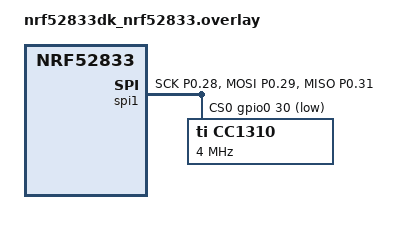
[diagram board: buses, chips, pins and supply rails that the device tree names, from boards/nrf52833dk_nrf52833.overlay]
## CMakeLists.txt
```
#
# Copyright (c) 2018 Nordic Semiconductor
#
# SPDX-License-Identifier: LicenseRef-Nordic-5-Clause
#
cmake_minimum_required(VERSION 3.20.0)

find_package(Zephyr REQUIRED HINTS $ENV{ZEPHYR_BASE})
project(central_uart)

# NORDIC SDK APP START
target_sources(app PRIVATE
  src/main.c
   src/PID.c  
)
# NORDIC SDK APP END

target_include_directories(app PRIVATE include)
```

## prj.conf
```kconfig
#
# Copyright (c) 2018 Nordic Semiconductor
#
# SPDX-License-Identifier: LicenseRef-Nordic-5-Clause
#

# Enable the UART driver
CONFIG_UART_ASYNC_API=y
CONFIG_NRFX_UARTE0=y
CONFIG_SERIAL=y
CONFIG_CONSOLE=y
CONFIG_UART_CONSOLE=y

# Enable the BLE stack with GATT Client configuration
CONFIG_BT=y
CONFIG_BT_CENTRAL=y
CONFIG_BT_SMP=y
CONFIG_BT_GATT_CLIENT=y

# Enable the BLE modules from NCS
CONFIG_BT_NUS_CLIENT=y
CONFIG_BT_SCAN=y
CONFIG_BT_SCAN_FILTER_ENABLE=y
CONFIG_BT_SCAN_UUID_CNT=1
CONFIG_BT_SCAN_NAME_CNT=1
CONFIG_BT_GATT_DM=y
CONFIG_HEAP_MEM_POOL_SIZE=2048

# This example requires more stack
CONFIG_SYSTEM_WORKQUEUE_STACK_SIZE=4096
CONFIG_MAIN_STACK_SIZE=2048

# Enable bonding
CONFIG_BT_SETTINGS=y
CONFIG_FLASH=y
CONFIG_FLASH_PAGE_LAYOUT=y
CONFIG_FLASH_MAP=y

# Config logger
CONFIG_LOG=y
CONFIG_USE_SEGGER_RTT=y
CONFIG_LOG_BACKEND_RTT=y
CONFIG_LOG_BACKEND_UART=y
CONFIG_LOG_PRINTK=y

CONFIG_ASSERT=y

# RSSI
# CONFIG_BT_CTLR_ADVANCED_FEATURES=y
CONFIG_BT_CTLR_CONN_RSSI=y
CONFIG_BT_CTLR_TX_PWR_DYNAMIC_CONTROL=y
CONFIG_BT_CTLR_TX_PWR_ANTENNA=8

# #FEM
# CONFIG_MPSL_FEM=y
# CONFIG_MPSL=y
# CONFIG_MPSL_FEM_NRF21540_GPIO=y #不需要
# CONFIG_BT_CTLR_TX_PWR_DYNAMIC_CONTROL=y
# CONFIG_MPSL_FEM_NRF21540_TX_GAIN_DB=20
# CONFIG_MPSL_FEM_NRF21540_RX_GAIN_DB=13
# CONFIG_BT_CTLR_TX_PWR_ANTENNA=20

# CONFIG_MAIN_STACK_SIZE=4096
# CONFIG_SYSTEM_WORKQUEUE_STACK_SIZE=4096

#使用大数据
CONFIG_BT_BUF_ACL_RX_SIZE=502
CONFIG_BT_ATT_PREPARE_COUNT=2
CONFIG_BT_ATT_TX_COUNT=10
CONFIG_BT_L2CAP_TX_MTU=498
CONFIG_BT_L2CAP_DYNAMIC_CHANNEL=y
CONFIG_BT_CONN_TX_MAX=10
CONFIG_BT_BUF_ACL_TX_COUNT=10
CONFIG_BT_BUF_ACL_TX_SIZE=502

CONFIG_BT_CTLR_DATA_LENGTH_MAX=251



#更新phy
CONFIG_BT_USER_PHY_UPDATE=y
CONFIG_BT_CTLR_PHY_2M=y
CONFIG_CBPRINTF_FP_SUPPORT=y


# SPI master forwarding
CONFIG_GPIO=y
CONFIG_SPI=y
CONFIG_SPI_NRFX=y
```

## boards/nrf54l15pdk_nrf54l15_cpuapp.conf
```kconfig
#
# Copyright (c) 2024 Nordic Semiconductor
#
# SPDX-License-Identifier: LicenseRef-Nordic-5-Clause
#

# Disable the unsupported driver
CONFIG_NRFX_UARTE0=n
# SPI buffer size for large transfers (4KB)
CONFIG_SPI_NRFX_RAM_BUFFER_SIZE=4096
```

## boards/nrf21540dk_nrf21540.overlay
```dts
/* app.overlay 或 boards/nrf21540dk_nrf52840.overlay */

&spi1 {
    compatible = "nordic,nrf-spis";   /* 切换为 SPIS 从机驱动 */
    status = "okay";

    pinctrl-0 = <&spi1_default>;
    pinctrl-1 = <&spi1_sleep>;
    pinctrl-names = "default", "sleep";

    sck-pin  = <28>;
    mosi-pin = <29>;
    miso-pin = <31>;
    csn-pin  = <30>;

    def-char = <0xFF>;
    orc      = <0xFF>;
};

&pinctrl {
    spi1_default: spi1_default {
        group1 {
            psels = <NRF_PSEL(SPIS_SCK,  0, 28)>,
                    <NRF_PSEL(SPIS_MOSI, 0, 29)>,
                    <NRF_PSEL(SPIS_MISO, 0, 31)>,
                    <NRF_PSEL(SPIS_CSN,  0, 30)>;
        };
    };

    spi1_sleep: spi1_sleep {
        group1 {
            psels = <NRF_PSEL(SPIS_SCK,  0, 28)>,
                    <NRF_PSEL(SPIS_MOSI, 0, 29)>,
                    <NRF_PSEL(SPIS_MISO, 0, 31)>,
                    <NRF_PSEL(SPIS_CSN,  0, 30)>;
            low-power-enable;
        };
    };
};
```

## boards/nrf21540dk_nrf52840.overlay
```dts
my_spi_slave: &spi1 {
	compatible = "nordic,nrf-spis";
	status = "okay";
	pinctrl-0 = <&spi2_default>;
	pinctrl-1 = <&spi2_sleep>;
	// sck-pin = <27>;
	// mosi-pin = <31>;
	// miso-pin = <29>;
	// csn-pin = <28>;
	def-char = <0x00>;
};

&pinctrl {
	spi2_default: spi2_default {
		group1 {
			psels = <NRF_PSEL(SPIS_SCK, 0, 27)>,
					<NRF_PSEL(SPIS_MOSI, 0, 31)>,
					<NRF_PSEL(SPIS_MISO, 0, 29)>,
					<NRF_PSEL(SPIS_CSN, 0, 28)>;
		};
	};

	spi2_sleep: spi2_sleep {
		group1 {
			psels = <NRF_PSEL(SPIS_SCK, 0, 27)>,
					<NRF_PSEL(SPIS_MOSI, 0, 31)>,
					<NRF_PSEL(SPIS_MISO, 0, 29)>,
					<NRF_PSEL(SPIS_CSN, 0, 28)>;
			low-power-enable;
		};
	};
};


/ {
    zephyr,user {
        alert-gpios = <&gpio0 15 GPIO_ACTIVE_LOW>;  /* P0.15，低电平有效 */
    };
};
```

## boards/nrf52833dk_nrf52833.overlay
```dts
#include <zephyr/dt-bindings/spi/spi.h>

/* STEP 2.1 - Add the SPI peripheral to spi1 */
&i2c0 {	status = "disabled";};
&spi0 {	status = "disabled";};
&i2c1 {	status = "disabled";};
	
&spi1 {
    compatible = "nordic,nrf-spim";
	status = "okay";
	pinctrl-0 = <&spi1_default>;
	pinctrl-1 = <&spi1_sleep>;
	pinctrl-names = "default", "sleep";
	cs-gpios = <&gpio0 30 GPIO_ACTIVE_LOW>;
	cc1310: cc1310@0 {
		compatible = "ti,cc1310";
		reg = <0>;
		spi-max-frequency = <4000000>;
		duplex = <SPI_FULL_DUPLEX>;
		frame-format = <SPI_FRAME_FORMAT_MOTOROLA>;
	};
};

/* STEP 2.2 - Change the pin configuration */
&pinctrl {
	spi1_default: spi1_default {
		group1 {
				psels = <NRF_PSEL(SPIM_SCK, 0, 28)>,
						<NRF_PSEL(SPIM_MOSI, 0, 29)>,
						<NRF_PSEL(SPIM_MISO, 0, 31)>;
		};
	};

	spi1_sleep: spi1_sleep {
		group1 {
				psels = <NRF_PSEL(SPIM_SCK, 0, 28)>,
						<NRF_PSEL(SPIM_MOSI, 0, 29)>,
						<NRF_PSEL(SPIM_MISO, 0, 31)>;
				low-power-enable;
		};
	};
};
```

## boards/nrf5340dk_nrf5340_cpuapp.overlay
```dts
// /* 把 spi1 覆盖为 SPIS（从机） */
// &spi1 {
//     compatible = "nordic,nrf-spis";
//     status = "okay";

//     /* 从机空读默认字节 */
//     def-char = <0x00>;

//     pinctrl-0 = <&spi1_spis_default>;
//     pinctrl-1 = <&spi1_spis_sleep>;
//     pinctrl-names = "default", "sleep";
// };

// /* 引脚复用（注意节点命名与上面 pinctrl-0 保持一致） */
// &pinctrl {
//     spi1_spis_default: spi1_spis_default {
//         group1 {
//             psels = <NRF_PSEL(SPIS_SCK,  0, 27)>,
//                     <NRF_PSEL(SPIS_MOSI, 0, 31)>, /* Master -> Slave */
//                     <NRF_PSEL(SPIS_MISO, 0, 29)>, /* Slave  -> Master */
//                     <NRF_PSEL(SPIS_CSN,  0, 28)>;
//         };
//     };

//     spi1_spis_sleep: spi1_spis_sleep {
//         group1 {
//             psels = <NRF_PSEL(SPIS_SCK,  0, 27)>,
//                     <NRF_PSEL(SPIS_MOSI, 0, 31)>,
//                     <NRF_PSEL(SPIS_MISO, 0, 29)>,
//                     <NRF_PSEL(SPIS_CSN,  0, 28)>;
//             low-power-enable;
//         };
//     };
// };

// /* 其它自定义 GPIO（保留） */
// &{/} {
//     zephyr,user {
//         alert-gpios = <&gpio0 15 GPIO_ACTIVE_LOW>;
//     };
// };

// &uart0 {
//    status = "disabled";
// };

// / {
// 	chosen {
// 		nordic,nus-uart = &uart20;
// 	};
// };
```

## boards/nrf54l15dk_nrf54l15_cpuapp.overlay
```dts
#include <zephyr/dt-bindings/spi/spi.h>

/* STEP 2.1 - Add the SPI peripheral to spi21 */
	
&spi21 {
    compatible = "nordic,nrf-spim";
	status = "okay";
	pinctrl-0 = <&spi21_default>;
	pinctrl-1 = <&spi21_sleep>;
	pinctrl-names = "default", "sleep";
	cs-gpios = <&gpio1 8 GPIO_ACTIVE_LOW>;
	cc1310: cc1310@0 {
		compatible = "ti,cc1310";
		reg = <0>;
		spi-max-frequency = <4000000>;
		duplex = <SPI_FULL_DUPLEX>;
		frame-format = <SPI_FRAME_FORMAT_MOTOROLA>;
	};
};

/* STEP 2.2 - Change the pin configuration */
&pinctrl {
	spi21_default: spi21_default {
		group1 {
				psels = <NRF_PSEL(SPIM_SCK, 1, 11)>,
						<NRF_PSEL(SPIM_MOSI, 1, 13)>,
						<NRF_PSEL(SPIM_MISO, 1, 14)>;
		};
	};

	spi21_sleep: spi21_sleep {
		group1 {
				psels = <NRF_PSEL(SPIM_SCK, 1, 11)>,
						<NRF_PSEL(SPIM_MOSI, 1, 13)>,
						<NRF_PSEL(SPIM_MISO, 1, 14)>;
				low-power-enable;
		};
	};
};
// &led3 {
//     /delete-property/ gpios;
// };

// &led2 {
//     /delete-property/ gpios;
// };

// &led1 {
//     /delete-property/ gpios;
// };

// &led0 {
//     /delete-property/ gpios;
// };
```

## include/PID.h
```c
/* --------------- pid.h --------------- */
#ifndef PID_H
#define PID_H

typedef struct {
    float kp, ki, kd;
    float error, lastError;
    float integral, maxIntegral;
    float output, maxOutput;
} PID;

void PID_Init(PID *pid, float p, float i, float d, float maxI, float maxOut);
void PID_Calc(PID *pid, float reference, float feedback);
void PID_Reset(PID *pid);

#endif /* PID_H */
```

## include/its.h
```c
/*
 * Copyright (c) 2018 Nordic Semiconductor ASA
 *
 * SPDX-License-Identifier: LicenseRef-Nordic-5-Clause
 */

#ifndef __BT_ITS_H
#define __BT_ITS_H

#ifdef __cplusplus
extern "C" {
#endif

#include <zephyr/types.h>

#define BT_UUID_ITS_VAL \
	BT_UUID_128_ENCODE(0x6E400001, 0xB5A3, 0xF393, 0xE0A9, 0xE50E24DCCA3E)

#define BT_UUID_ITS_TX_VAL \
	BT_UUID_128_ENCODE(0x6E400003, 0xB5A3, 0xF393, 0xE0A9, 0xE50E24DCCA3E)

#define BT_UUID_ITS_RX_VAL \
	BT_UUID_128_ENCODE(0x6E400002, 0xB5A3, 0xF393, 0xE0A9, 0xE50E24DCCA3E)

#define BT_UUID_ITS_IMG_INFO_VAL \
	BT_UUID_128_ENCODE(0x6E400004, 0xB5A3, 0xF393, 0xE0A9, 0xE50E24DCCA3E)

#define BT_UUID_ITS           BT_UUID_DECLARE_128(BT_UUID_ITS_VAL)
#define BT_UUID_ITS_TX    	  BT_UUID_DECLARE_128(BT_UUID_ITS_TX_VAL)
#define BT_UUID_ITS_RX        BT_UUID_DECLARE_128(BT_UUID_ITS_RX_VAL)
#define BT_UUID_ITS_IMG_INFO  BT_UUID_DECLARE_128(BT_UUID_ITS_IMG_INFO_VAL)

enum its_rx_cmd_e {
	ITS_RX_CMD_SINGLE_CAPTURE = 1,
	ITS_RX_CMD_START_STREAM,
	ITS_RX_CMD_STOP_STREAM,
	ITS_RX_CMD_CHANGE_RESOLUTION,
	ITS_RX_CMD_CHANGE_PHY,
	ITS_RX_CMD_SEND_BLE_PARAMS,
	ITS_RX_CMD_TXP, 
	ITS_RX_CMD_WIFIONOFF,
	ITS_RX_CMD_WIFIACTIVE,
};

struct its_rx_cb_evt_t {
	enum its_rx_cmd_e command;
	uint8_t *data;
	uint32_t len;
};

/** @brief Callback type for when the ITS service is ready */
typedef void (*its_ready_cb_t)(void);

/** @brief Callback type for when RX data is received. */
typedef void (*its_rx_cb_t)(struct its_rx_cb_evt_t *evt);

/** @brief Callback struct used by the ITS Service. */
struct bt_its_cb {
	/** ITS Ready callback */
	its_ready_cb_t ready_cb;
	
	/** ITS RX callback. */
	its_rx_cb_t rx_cb;
};

enum its_img_info_data_type_e {ITS_IMG_INFO_DATA_TYPE_IMG_INFO = 1, ITS_IMG_INFO_DATA_TYPE_BLE_PARAMS = 2, ITS_IMG_INFO_DATA_TYPE_CLIENT_STATUS = 3};

struct its_img_info_t {
    uint32_t file_size_bytes;   
};

struct its_ble_params_info_t {
    uint16_t mtu;
    uint16_t con_interval;
    uint8_t  tx_phy;
    uint8_t  rx_phy;
};

enum its_camera_type_e {ITS_CAM_TYPE_3MP = 1, ITS_CAM_TYPE_5MP = 2};

struct its_client_status_t {
	uint8_t camera_type;
	uint8_t selected_resolution_index;
};

int bt_its_init(struct bt_its_cb *callbacks);

int bt_its_send_img_data(struct bt_conn *conn, const uint8_t *buf, uint16_t length, uint16_t le_max_length);

int bt_its_send_img_info(struct its_img_info_t *img_info);

int bt_its_send_ble_params_info(struct its_ble_params_info_t *ble_params_info);

int bt_its_send_client_status(struct its_client_status_t *client_status);

#ifdef __cplusplus
}
#endif

#endif /* BT_ITS_H_ */
```

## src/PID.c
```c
#include "PID.h"
#include <zephyr/sys/printk.h>


void PID_Init(PID *pid, float p, float i, float d, float maxI, float maxOut)
{
    pid->kp = p;
    pid->ki = i;
    pid->kd = d;
    pid->maxIntegral = maxI;
    pid->maxOutput = maxOut;
    PID_Reset(pid);
}

void PID_Calc(PID *pid, float reference, float feedback)
{
    pid->lastError = pid->error;
    pid->error = reference - feedback;
    
    float pout = pid->error * pid->kp;
    pid->integral += pid->error * pid->ki;
    float dout = (pid->error - pid->lastError) * pid->kd;

    /* 积分限幅 */
    if(pid->integral > pid->maxIntegral) {
        pid->integral = pid->maxIntegral;
    } else if(pid->integral < -pid->maxIntegral) {
        pid->integral = -pid->maxIntegral;
    }

    /* 计算输出 */
    pid->output = pout + pid->integral + dout;
    //printk("CAL = %f\n", (double)pid->output); 

    /* 输出限幅 */
    if(pid->output > pid->maxOutput) {
        pid->output = pid->maxOutput;
    } else if(pid->output < -pid->maxOutput) {
        pid->output = -pid->maxOutput;
    }
}

void PID_Reset(PID *pid)
{
    pid->error = 0;
    pid->lastError = 0;
    pid->integral = 0;
    pid->output = 0;
}
```
